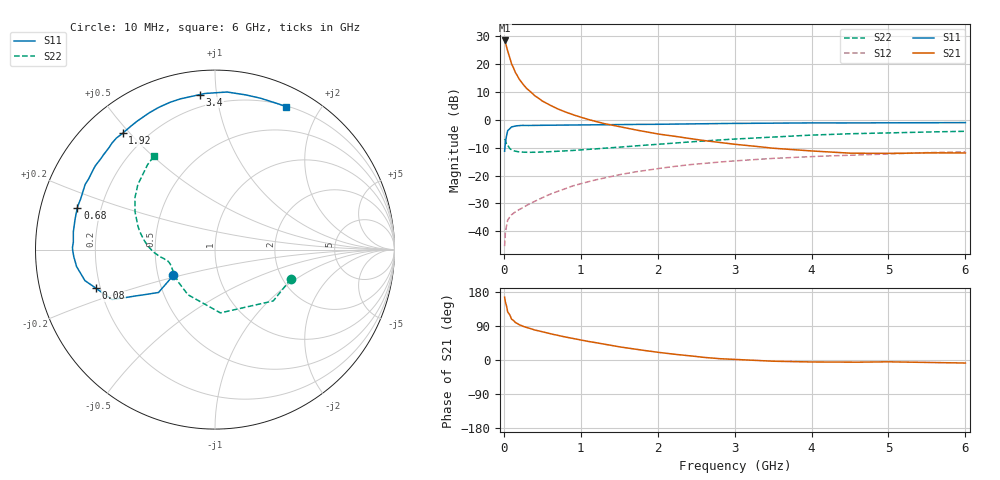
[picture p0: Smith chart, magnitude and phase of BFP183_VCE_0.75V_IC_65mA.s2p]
! Infineon Technologies  Discrete & RF Semiconductors
! BFP183
! VCE = 0.75V,  IC =  65 mA
! Common Emitter S-Parameters:  Jan 2016
# GHz  S  MA  R  50
!  f  S11  S21  S12  S22
! GHz  MAG  ANG  MAG  ANG  MAG  ANG  MAG  ANG
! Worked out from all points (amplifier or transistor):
!   210 points, 10 MHz to 6 GHz, reference 50 ohm
!   highest |S21| = 28.5 dB at 10 MHz (marker M1)
!   |S21| within 3 dB of that: start of sweep to 41.84 MHz
!   unconditionally stable (mu >= 1): start of sweep to 47.55 MHz; 68.81 MHz to end of sweep
!   at 185 MHz: K = 1.37, MAG = 20.3 dB, |S12| = -32.5 dB
!   at 1.52 GHz: K = 2.12, MAG = 2.5 dB, |S12| = -19.6 dB
!   at 6 GHz: K = 1.52, MAG = -4.5 dB, |S12| = -11.5 dB
!   S11 on the Smith chart (normalised r, x): 10 MHz: 0.60, -0.19; 80 MHz: 0.18, -0.15; 680 MHz: 0.11, +0.15; 1.92 GHz: 0.12, +0.48; 3.4 GHz: 0.13, +0.90; 6 GHz: 0.21, +1.59
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0.01  0.2734 -148.2  26.5 165.9  0.0054 56.4  0.4534 -21.2
0.02  0.3952 -142.8  24.61 153.0  0.0094 54.9  0.4327 -41.4
0.05  0.6371 -154.1  17.2 126.6  0.0158 44.3  0.3538 -85.1
0.08  0.698 -162.1  12.78 117.8  0.0182 39.0  0.3023 -105.0
0.1  0.745 -166.6  10.12 107.8  0.0198 36.2  0.2932 -120.9
0.15  0.7769 -173.0  7.058 98.9  0.0223 38.2  0.2732 -137.7
0.2  0.7877 -177.1  5.351 93.1  0.0245 40.6  0.2658 -146.9
0.24  0.7932 -179.8  4.516 89.7  0.0262 43.8  0.2633 -151.4
0.3  0.7903 177.0  3.609 85.2  0.0293 47.9  0.2609 -156.4
0.4  0.7954 172.9  2.719 79.2  0.0343 52.3  0.2612 -160.9
0.5  0.7971 169.0  2.171 74.3  0.04 54.9  0.2638 -163.7
0.68  0.8012 163.0  1.621 66.0  0.0508 57.9  0.2709 -166.5
0.8  0.8 159.4  1.381 60.6  0.0581 58.6  0.2757 -167.8
1.02  0.8088 152.8  1.09 52.2  0.0723 58.9  0.2893 -170.0
1.5  0.8154 139.6  0.75 34.8  0.1033 55.1  0.3226 -174.9
1.92  0.8277 128.4  0.584 22.7  0.1285 50.2  0.3565 179.7
2.02  0.8307 125.6  0.552 19.9  0.1341 48.9  0.3645 178.5
3.1  0.8618 101.1  0.353 0.6  0.1871 34.0  0.4587 160.9
3.4  0.8678 95.5  0.32 -2.2  0.1988 30.0  0.4839 156.2
4.1  0.8792 84.2  0.271 -5.3  0.2215 21.3  0.5367 145.6
5.1  0.8807 72.1  0.25 -5.1  0.2461 11.1  0.586 132.5
6  0.8896 63.6  0.254 -8.0  0.2661 1.3  0.6214 123.3
